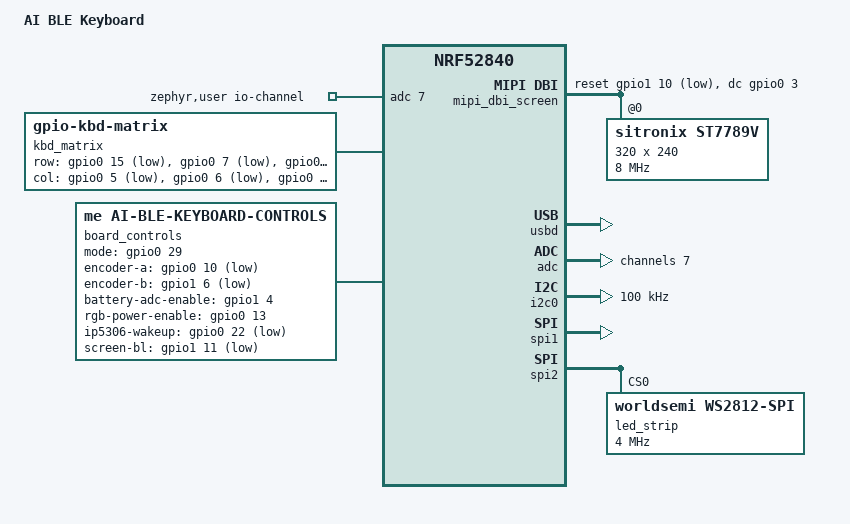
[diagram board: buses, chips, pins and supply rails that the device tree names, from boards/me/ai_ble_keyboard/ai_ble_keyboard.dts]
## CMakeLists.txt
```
# SPDX-License-Identifier: Apache-2.0

cmake_minimum_required(VERSION 3.20.0)
find_package(Zephyr REQUIRED HINTS $ENV{ZEPHYR_BASE})
project(ai_ble_keyboard)

zephyr_compile_definitions(CONFIG_NFCT_PINS_AS_GPIOS)

target_include_directories(app PRIVATE src)

target_sources(app PRIVATE
  src/display.c
  src/hid_transport.c
  src/host_ble.c
  src/host_protocol.c
  src/keymap.c
  src/key_wakeup_pm.c
  src/keyboard_matrix.c
  src/main.c
  src/power.c
  src/rgb.c
)
```

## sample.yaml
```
sample:
  name: AI BLE Keyboard
tests:
  sample.ai_ble_keyboard:
    build_only: true
    tags:
      - bluetooth
      - usb
      - hid
      - keyboard
    platform_allow:
      - ai_ble_keyboard/nrf52840
```

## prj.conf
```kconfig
# Core
CONFIG_MAIN_STACK_SIZE=8192
CONFIG_SYSTEM_WORKQUEUE_STACK_SIZE=8192
CONFIG_LOG=y
CONFIG_LOG_DEFAULT_LEVEL=3
CONFIG_LOG_PROCESS_THREAD_STACK_SIZE=4096
CONFIG_ASSERT=y

# GPIO / matrix / encoder
CONFIG_GPIO=y

# BLE HID over GATT
CONFIG_BT=y
CONFIG_BT_PERIPHERAL=y
CONFIG_BT_MAX_CONN=2
CONFIG_BT_MAX_PAIRED=2
CONFIG_BT_SMP=y
CONFIG_BT_DEVICE_NAME="AI_BLE_KEYBOARD"
CONFIG_BT_DEVICE_APPEARANCE=961
CONFIG_BT_GATT_AUTO_SEC_REQ=n
CONFIG_BT_GATT_SERVICE_CHANGED=y
CONFIG_BT_AUTO_PHY_UPDATE=n
CONFIG_BT_BAS=y
CONFIG_BT_HIDS=y
CONFIG_BT_HIDS_MAX_CLIENT_COUNT=2
CONFIG_BT_HIDS_DEFAULT_PERM_RW_ENCRYPT=y
CONFIG_BT_L2CAP_TX_MTU=247
CONFIG_BT_BUF_ACL_RX_SIZE=251
CONFIG_BT_BUF_ACL_TX_SIZE=251
CONFIG_BT_ATT_PREPARE_COUNT=2
CONFIG_BT_GATT_UUID16_POOL_SIZE=48
CONFIG_BT_GATT_UUID128_POOL_SIZE=4
CONFIG_BT_GATT_CHRC_POOL_SIZE=24
CONFIG_BT_CONN_CTX=y
CONFIG_BT_SETTINGS=y
CONFIG_BT_RX_STACK_SIZE=4096
CONFIG_FLASH=y
CONFIG_FLASH_PAGE_LAYOUT=y
CONFIG_FLASH_MAP=y
CONFIG_SETTINGS=y
CONFIG_NVS=y
CONFIG_SETTINGS_NVS=y

# USB HID keyboard. The legacy stack keeps this custom HID transport compact on NCS 3.2.3.
CONFIG_USB_DEVICE_STACK=y
CONFIG_USB_DEVICE_STACK_NEXT=n
CONFIG_USB_DEVICE_INITIALIZE_AT_BOOT=n
CONFIG_USB_DEVICE_HID=y
CONFIG_USB_DEVICE_PRODUCT="AI BLE Keyboard"
CONFIG_USB_DEVICE_PID=0xA107
CONFIG_USB_DEVICE_VID=0x1915
CONFIG_USB_DEVICE_REMOTE_WAKEUP=y
CONFIG_USB_HID_BOOT_PROTOCOL=y
CONFIG_USB_HID_LOG_LEVEL_OFF=y
CONFIG_USB_DEVICE_LOG_LEVEL_OFF=y
CONFIG_USB_DRIVER_LOG_LEVEL_OFF=y
CONFIG_DEPRECATION_TEST=y

# Power and battery monitor
CONFIG_ADC=y
CONFIG_I2C=y

# WS2812 RGB
CONFIG_SPI=y
CONFIG_LED_STRIP=y
CONFIG_WS2812_STRIP_SPI=y

# ST7789V status display
CONFIG_DISPLAY=y
CONFIG_ST7789V=y
CONFIG_ST7789V_RGB565=y
CONFIG_HEAP_MEM_POOL_SIZE=16384
CONFIG_LVGL=y
CONFIG_LV_COLOR_DEPTH_16=y
CONFIG_LV_Z_MEM_POOL_SIZE=16384
CONFIG_LV_Z_VDB_SIZE=24
CONFIG_LV_USE_LABEL=y
CONFIG_LV_USE_LINE=y
CONFIG_LV_FONT_MONTSERRAT_8=y
CONFIG_LV_FONT_MONTSERRAT_14=y
CONFIG_LV_FONT_MONTSERRAT_18=y
CONFIG_LV_FONT_MONTSERRAT_24=y
CONFIG_LV_FONT_DEFAULT_MONTSERRAT_8=y

# Console useful during board bring-up.
CONFIG_RTT_CONSOLE=y
CONFIG_USE_SEGGER_RTT=y
CONFIG_PRINTK=y
CONFIG_HWINFO=y
```

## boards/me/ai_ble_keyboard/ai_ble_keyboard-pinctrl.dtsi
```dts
/*
 * SPDX-License-Identifier: Apache-2.0
 */

&pinctrl {
	i2c0_default: i2c0_default {
		group1 {
			psels = <NRF_PSEL(TWIM_SDA, 1, 0)>,
				<NRF_PSEL(TWIM_SCL, 0, 24)>;
		};
	};

	i2c0_sleep: i2c0_sleep {
		group1 {
			psels = <NRF_PSEL(TWIM_SDA, 1, 0)>,
				<NRF_PSEL(TWIM_SCL, 0, 24)>;
			low-power-enable;
		};
	};

	spi1_default: spi1_default {
		group1 {
			psels = <NRF_PSEL(SPIM_SCK, 1, 13)>,
				<NRF_PSEL(SPIM_MOSI, 0, 28)>;
		};
	};

	spi1_sleep: spi1_sleep {
		group1 {
			psels = <NRF_PSEL(SPIM_SCK, 1, 13)>,
				<NRF_PSEL(SPIM_MOSI, 0, 28)>;
			low-power-enable;
		};
	};

	spi2_default: spi2_default {
		group1 {
			psels = <NRF_PSEL(SPIM_SCK, 1, 2)>,
				<NRF_PSEL(SPIM_MOSI, 0, 20)>;
		};
	};

	spi2_sleep: spi2_sleep {
		group1 {
			psels = <NRF_PSEL(SPIM_SCK, 1, 2)>,
				<NRF_PSEL(SPIM_MOSI, 0, 20)>;
			low-power-enable;
		};
	};
};
```

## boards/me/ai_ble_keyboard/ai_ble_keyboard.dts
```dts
/dts-v1/;

#include <nordic/nrf52840_qiaa.dtsi>
#include <zephyr/dt-bindings/adc/nrf-saadc.h>
#include <zephyr/dt-bindings/gpio/gpio.h>
#include <zephyr/dt-bindings/led/led.h>
#include <zephyr/dt-bindings/mipi_dbi/mipi_dbi.h>
#include "ai_ble_keyboard-pinctrl.dtsi"

/ {
	model = "AI BLE Keyboard";
	compatible = "me,ai-ble-keyboard";

	chosen {
		zephyr,sram = &sram0;
		zephyr,flash = &flash0;
		zephyr,code-partition = &slot0_partition;
		zephyr,display = &st7789v;
	};

	aliases {
		led-strip = &led_strip;
	};

	zephyr,user {
		io-channels = <&adc 7>;
	};

	kbd_matrix: keyboard-matrix {
		compatible = "gpio-kbd-matrix";
		row-gpios = <&gpio0 15 GPIO_ACTIVE_LOW>,
			    <&gpio0 7 GPIO_ACTIVE_LOW>,
			    <&gpio0 12 GPIO_ACTIVE_LOW>,
			    <&gpio0 4 GPIO_ACTIVE_LOW>,
			    <&gpio1 9 GPIO_ACTIVE_LOW>,
			    <&gpio0 8 GPIO_ACTIVE_LOW>;
		col-gpios = <&gpio0 5 (GPIO_PULL_UP | GPIO_ACTIVE_LOW)>,
			    <&gpio0 6 (GPIO_PULL_UP | GPIO_ACTIVE_LOW)>,
			    <&gpio0 26 (GPIO_PULL_UP | GPIO_ACTIVE_LOW)>,
			    <&gpio0 30 (GPIO_PULL_UP | GPIO_ACTIVE_LOW)>;
	};

	board_controls: board-controls {
		compatible = "me,ai-ble-keyboard-controls";
		mode-gpios = <&gpio0 29 (GPIO_PULL_UP | GPIO_ACTIVE_HIGH)>;
		encoder-a-gpios = <&gpio0 10 (GPIO_PULL_UP | GPIO_ACTIVE_LOW)>;
		encoder-b-gpios = <&gpio1 6 (GPIO_PULL_UP | GPIO_ACTIVE_LOW)>;
		battery-adc-enable-gpios = <&gpio1 4 GPIO_ACTIVE_HIGH>;
		rgb-power-enable-gpios = <&gpio0 13 GPIO_ACTIVE_HIGH>;
		ip5306-wakeup-gpios = <&gpio0 22 (GPIO_ACTIVE_LOW | GPIO_OPEN_DRAIN)>;
		screen-bl-gpios = <&gpio1 11 GPIO_ACTIVE_LOW>;
	};
};

&flash0 {
	partitions {
		compatible = "fixed-partitions";
		#address-cells = <1>;
		#size-cells = <1>;

		boot_partition: partition@0 {
			label = "mcuboot";
			reg = <0x00000000 DT_SIZE_K(48)>;
		};

		slot0_partition: partition@c000 {
			label = "image-0";
			reg = <0x0000c000 DT_SIZE_K(472)>;
		};

		slot1_partition: partition@82000 {
			label = "image-1";
			reg = <0x00082000 DT_SIZE_K(472)>;
		};

		storage_partition: partition@f8000 {
			label = "storage";
			reg = <0x000f8000 DT_SIZE_K(32)>;
		};
	};
};

&gpio0 {
	status = "okay";
};

&gpio1 {
	status = "okay";
};

&gpiote {
	status = "okay";
};

&uicr {
	nfct-pins-as-gpios;
};

&usbd {
	status = "okay";
};

&adc {
	status = "okay";
	#address-cells = <1>;
	#size-cells = <0>;

	channel@7 {
		reg = <7>;
		zephyr,gain = "ADC_GAIN_1_6";
		zephyr,reference = "ADC_REF_INTERNAL";
		zephyr,acquisition-time = <ADC_ACQ_TIME_DEFAULT>;
		zephyr,input-positive = <NRF_SAADC_AIN7>;
		zephyr,resolution = <12>;
	};
};

&i2c0 {
	compatible = "nordic,nrf-twim";
	status = "okay";
	pinctrl-0 = <&i2c0_default>;
	pinctrl-1 = <&i2c0_sleep>;
	pinctrl-names = "default", "sleep";
	clock-frequency = <I2C_BITRATE_STANDARD>;
};

&spi1 {
	compatible = "nordic,nrf-spim";
	status = "okay";
	pinctrl-0 = <&spi1_default>;
	pinctrl-1 = <&spi1_sleep>;
	pinctrl-names = "default", "sleep";
	cs-gpios = <&gpio0 2 GPIO_ACTIVE_LOW>;
};

/ {
	mipi_dbi_screen {
		compatible = "zephyr,mipi-dbi-spi";
		spi-dev = <&spi1>;
		dc-gpios = <&gpio0 3 GPIO_ACTIVE_HIGH>;
		reset-gpios = <&gpio1 10 GPIO_ACTIVE_LOW>;
		write-only;
		#address-cells = <1>;
		#size-cells = <0>;
		status = "okay";

		st7789v: st7789v@0 {
			compatible = "sitronix,st7789v";
			reg = <0>;
			mipi-max-frequency = <8000000>;
			width = <320>;
			height = <240>;
			x-offset = <0>;
			y-offset = <0>;
			vcom = <0x2b>;
			gctrl = <0x35>;
			vrhs = <0x0f>;
			vdvs = <0x20>;
			mdac = <0xa0>;
			gamma = <0x01>;
			colmod = <0x05>;
			lcm = <0x2c>;
			porch-param = [0c 0c 00 33 33];
			cmd2en-param = [5a 69 02 01];
			pwctrl1-param = [52 a1];
			pvgam-param = [d0 00 02 07 0b 1a 31 54 40 29 12 12 12 17];
			nvgam-param = [d0 00 02 07 05 15 2d 44 44 1c 18 16 1c 1d];
			ram-param = [00 f8];
			rgb-param = [cd 08 14];
			mipi-mode = "MIPI_DBI_MODE_SPI_4WIRE";
			status = "okay";
		};
	};
};

&spi2 {
	compatible = "nordic,nrf-spim";
	status = "okay";
	pinctrl-0 = <&spi2_default>;
	pinctrl-1 = <&spi2_sleep>;
	pinctrl-names = "default", "sleep";

	led_strip: ws2812@0 {
		compatible = "worldsemi,ws2812-spi";
		reg = <0>;
		spi-max-frequency = <4000000>;
		chain-length = <24>;
		color-mapping = <LED_COLOR_ID_GREEN LED_COLOR_ID_RED LED_COLOR_ID_BLUE>;
		spi-one-frame = <0x70>;
		spi-zero-frame = <0x40>;
	};
};
```

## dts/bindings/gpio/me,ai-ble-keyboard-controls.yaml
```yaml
# SPDX-License-Identifier: Apache-2.0

description: GPIO controls for the AI BLE Keyboard board.

compatible: "me,ai-ble-keyboard-controls"

include: base.yaml

properties:
  mode-gpios:
    type: phandle-array
    required: true
  encoder-a-gpios:
    type: phandle-array
    required: true
  encoder-b-gpios:
    type: phandle-array
    required: true
  battery-adc-enable-gpios:
    type: phandle-array
    required: true
  rgb-power-enable-gpios:
    type: phandle-array
    required: true
  ip5306-wakeup-gpios:
    type: phandle-array
    required: true
  screen-bl-gpios:
    type: phandle-array
    required: true
```

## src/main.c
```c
#include <errno.h>
#include <string.h>

#include <zephyr/devicetree.h>
#include <zephyr/bluetooth/services/bas.h>
#include <zephyr/drivers/gpio.h>
#include <zephyr/kernel.h>
#include <zephyr/logging/log.h>
#include <zephyr/sys/atomic.h>
#include <zephyr/sys/util.h>

#include "app_types.h"
#include "display.h"
#include "hid_transport.h"
#include "host_protocol.h"
#include "keyboard_matrix.h"
#include "keymap.h"
#include "key_wakeup_pm.h"
#include "power.h"
#include "rgb.h"

LOG_MODULE_REGISTER(app, LOG_LEVEL_INF);

#define CTRL_NODE DT_NODELABEL(board_controls)
#define MODE_DEBOUNCE_MS 40
#define STATUS_INTERVAL_MS 1000
#define STATUS_IDLE_INTERVAL_MS 10000

static const struct gpio_dt_spec mode_gpio =
	GPIO_DT_SPEC_GET(CTRL_NODE, mode_gpios);

struct encoder_line
{
	const char *name;
	struct gpio_dt_spec gpio;
	struct gpio_callback cb;
};

struct encoder_pair
{
	const char *name;
	uint8_t a;
	uint8_t b;
	int last_state;
	int8_t accumulator;
};

static struct hid_keyboard_report keyboard_report;
static uint8_t pressed_usage[KEYBOARD_MATRIX_ROWS][KEYBOARD_MATRIX_COLS];
static atomic_t encoder_pending_steps;
static struct k_work encoder_work;
static int active_encoder_pair = -1;
static bool status_refresh_requested;

static struct encoder_line encoder_lines[] = {
	{
		.name = "P0.10",
		.gpio = {
			.port = DEVICE_DT_GET(DT_NODELABEL(gpio0)),
			.pin = 10,
			.dt_flags = GPIO_PULL_UP | GPIO_ACTIVE_LOW,
		},
	},
	{
		.name = "P1.06",
		.gpio = {
			.port = DEVICE_DT_GET(DT_NODELABEL(gpio1)),
			.pin = 6,
			.dt_flags = GPIO_PULL_UP | GPIO_ACTIVE_LOW,
		},
	},
	{
		.name = "P0.09",
		.gpio = {
			.port = DEVICE_DT_GET(DT_NODELABEL(gpio0)),
			.pin = 9,
			.dt_flags = GPIO_PULL_UP | GPIO_ACTIVE_LOW,
		},
	},
};

static struct encoder_pair encoder_pairs[] = {
	{.name = "P0.10/P1.06", .a = 0, .b = 1, .last_state = -1},
	{.name = "P0.09/P1.06", .a = 2, .b = 1, .last_state = -1},
	{.name = "P0.09/P0.10", .a = 2, .b = 0, .last_state = -1},
};

static enum app_mode read_mode_switch(void)
{
	int val;

	if (!gpio_is_ready_dt(&mode_gpio))
	{
		return APP_MODE_BLE;
	}

	val = gpio_pin_get_dt(&mode_gpio);
	return val > 0 ? APP_MODE_BLE : APP_MODE_USB;
}

static enum app_mode read_mode_switch_debounced(void)
{
	static bool initialized;
	static enum app_mode stable_mode;
	static enum app_mode candidate_mode;
	static int64_t candidate_since;
	enum app_mode raw_mode = read_mode_switch();
	int64_t now = k_uptime_get();

	if (!initialized)
	{
		stable_mode = raw_mode;
		candidate_mode = raw_mode;
		candidate_since = now;
		initialized = true;
		return stable_mode;
	}

	if (raw_mode != candidate_mode)
	{
		candidate_mode = raw_mode;
		candidate_since = now;
		return stable_mode;
	}

	if (candidate_mode != stable_mode &&
		(now - candidate_since) >= MODE_DEBOUNCE_MS)
	{
		stable_mode = candidate_mode;
	}

	return stable_mode;
}

static void clear_keyboard_state(void)
{
	memset(&keyboard_report, 0, sizeof(keyboard_report));
	memset(pressed_usage, 0, sizeof(pressed_usage));
}

static void clear_keyboard_report(void)
{
	clear_keyboard_state();
	(void)hid_transport_release_all();
}

static void add_usage(uint8_t usage)
{
	if (usage == 0)
	{
		return;
	}

	for (size_t i = 0; i < ARRAY_SIZE(keyboard_report.keys); i++)
	{
		if (keyboard_report.keys[i] == usage)
		{
			return;
		}
	}

	for (size_t i = 0; i < ARRAY_SIZE(keyboard_report.keys); i++)
	{
		if (keyboard_report.keys[i] == 0)
		{
			keyboard_report.keys[i] = usage;
			return;
		}
	}

	LOG_WRN("Keyboard rollover limit reached, dropping usage 0x%02x", usage);
}

static void remove_usage(uint8_t usage)
{
	if (usage == 0)
	{
		return;
	}

	for (size_t i = 0; i < ARRAY_SIZE(keyboard_report.keys); i++)
	{
		if (keyboard_report.keys[i] == usage)
		{
			keyboard_report.keys[i] = 0;
		}
	}
}

static bool keyboard_report_has_keys(void)
{
	for (size_t i = 0; i < ARRAY_SIZE(keyboard_report.keys); i++)
	{
		if (keyboard_report.keys[i] != 0)
		{
			return true;
		}
	}

	return false;
}

static void process_key_event(const struct keyboard_event *event)
{
	uint8_t usage;
	bool layer_changed = false;

	if (event->row >= KEYBOARD_MATRIX_ROWS || event->col >= KEYBOARD_MATRIX_COLS)
	{
		return;
	}

	if (event->row == 0 && event->col == 3)
	{
		if (event->pressed)
		{
			LOG_DBG("encoder switch mute");
			(void)hid_transport_send_consumer(HID_CONSUMER_MUTE);
		}
		return;
	}

	if (event->pressed)
	{
		bool before_numlock = keymap_numlock_enabled();

		usage = keymap_usage_for_event(event);
		pressed_usage[event->row][event->col] = usage;
		add_usage(usage);
		keymap_note_event(event);
		layer_changed = before_numlock != keymap_numlock_enabled();
	}
	else
	{
		usage = pressed_usage[event->row][event->col];
		pressed_usage[event->row][event->col] = 0;
		remove_usage(usage);
	}

	LOG_DBG("key r%u c%u %s usage 0x%02x layer %s",
			event->row, event->col, event->pressed ? "down" : "up",
			usage, keymap_layer_name());
	(void)hid_transport_send_keyboard(&keyboard_report);

	if (layer_changed) {
		rgb_show_status(hid_transport_get_mode(), hid_transport_connected(),
				keymap_numlock_enabled(), key_wakeup_pm_is_idle());
		status_refresh_requested = true;
	}
}

static void encoder_work_handler(struct k_work *work)
{
	int steps;

	ARG_UNUSED(work);

	key_wakeup_pm_note_activity(k_uptime_get());

	steps = atomic_set(&encoder_pending_steps, 0);
	while (steps > 0)
	{
		(void)hid_transport_send_consumer(HID_CONSUMER_VOLUME_UP);
		steps--;
	}
	while (steps < 0)
	{
		(void)hid_transport_send_consumer(HID_CONSUMER_VOLUME_DOWN);
		steps++;
	}
}

static int encoder_line_state(uint8_t index)
{
	int value = gpio_pin_get_dt(&encoder_lines[index].gpio);

	return value > 0 ? 1 : 0;
}

static void encoder_sample_pair(struct encoder_pair *pair, size_t pair_index)
{
	static const int8_t delta_table[16] = {
		0,
		-1,
		1,
		0,
		1,
		0,
		0,
		-1,
		-1,
		0,
		0,
		1,
		0,
		1,
		-1,
		0,
	};
	int state;
	int idx;
	int8_t delta;

	if (active_encoder_pair >= 0 && active_encoder_pair != (int)pair_index)
	{
		return;
	}

	if (pair->last_state < 0)
	{
		return;
	}

	state = (encoder_line_state(pair->a) << 1) | encoder_line_state(pair->b);
	if (state == pair->last_state)
	{
		return;
	}

	idx = (pair->last_state << 2) | state;
	pair->last_state = state;
	delta = delta_table[idx & 0x0f];
	if (delta == 0)
	{
		return;
	}

	pair->accumulator += delta;
	if (pair->accumulator >= 2)
	{
		pair->accumulator = 0;
		if (active_encoder_pair < 0)
		{
			active_encoder_pair = (int)pair_index;
			LOG_INF("Encoder pair locked to %s", pair->name);
		}
		atomic_inc(&encoder_pending_steps);
		(void)k_work_submit(&encoder_work);
	}
	else if (pair->accumulator <= -2)
	{
		pair->accumulator = 0;
		if (active_encoder_pair < 0)
		{
			active_encoder_pair = (int)pair_index;
			LOG_INF("Encoder pair locked to %s", pair->name);
		}
		atomic_dec(&encoder_pending_steps);
		(void)k_work_submit(&encoder_work);
	}
}

static void encoder_sample(void)
{
	for (size_t i = 0; i < ARRAY_SIZE(encoder_pairs); i++)
	{
		encoder_sample_pair(&encoder_pairs[i], i);
	}
}

static void encoder_gpio_cb(const struct device *dev, struct gpio_callback *cb,
							uint32_t pins)
{
	ARG_UNUSED(dev);
	ARG_UNUSED(cb);
	ARG_UNUSED(pins);

	encoder_sample();
}

static int encoder_init(void)
{
	int err;

	k_work_init(&encoder_work, encoder_work_handler);

	for (size_t i = 0; i < ARRAY_SIZE(encoder_lines); i++)
	{
		struct encoder_line *line = &encoder_lines[i];

		if (!gpio_is_ready_dt(&line->gpio))
		{
			LOG_WRN("Encoder GPIO %s is not ready", line->name);
			return -ENODEV;
		}

		err = gpio_pin_configure_dt(&line->gpio, GPIO_INPUT);
		if (err)
		{
			return err;
		}

		gpio_init_callback(&line->cb, encoder_gpio_cb, BIT(line->gpio.pin));
		err = gpio_add_callback(line->gpio.port, &line->cb);
		if (err)
		{
			return err;
		}

		err = gpio_pin_interrupt_configure_dt(&line->gpio, GPIO_INT_EDGE_BOTH);
		if (err)
		{
			return err;
		}
	}

	for (size_t i = 0; i < ARRAY_SIZE(encoder_pairs); i++)
	{
		struct encoder_pair *pair = &encoder_pairs[i];

		pair->last_state = (encoder_line_state(pair->a) << 1) |
						   encoder_line_state(pair->b);
		LOG_DBG("Encoder candidate %s initial state %d",
				pair->name, pair->last_state);
	}

	return 0;
}

int main(void)
{
	struct keyboard_event events[8];
	int64_t next_status = 0;
	enum app_mode mode = APP_MODE_BLE;
	bool last_idle = false;
	bool last_connected = false;

	LOG_INF("AI BLE Keyboard starting");

	(void)power_init();
	power_ip5306_keepalive_kick();
	(void)app_display_init();
	(void)rgb_init();
	keymap_init();

	if (gpio_is_ready_dt(&mode_gpio))
	{
		(void)gpio_pin_configure_dt(&mode_gpio, GPIO_INPUT);
	}

	if (keyboard_matrix_init() != 0)
	{
		LOG_ERR("Keyboard matrix init failed");
	}

	(void)encoder_init();

	mode = read_mode_switch_debounced();
	key_wakeup_pm_init(k_uptime_get());

	if (hid_transport_init(mode) != 0)
	{
		LOG_ERR("HID transport init failed");
	}

	hid_transport_set_mode(mode);
	last_connected = hid_transport_connected();

	while (true)
	{
		enum app_mode new_mode = read_mode_switch_debounced();
		int event_count;
		int64_t now = k_uptime_get();
		bool idle_now;
		bool connected_now;

		if (new_mode != mode)
		{
			clear_keyboard_state();
			mode = new_mode;
			hid_transport_set_mode(mode);
			clear_keyboard_report();
			key_wakeup_pm_note_activity_reason(now, "Mode switch activity");
			app_display_set_idle(false);
			rgb_show_status(mode, hid_transport_connected(),
					keymap_numlock_enabled(), false);
			last_idle = false;
			next_status = 0;
			LOG_INF("Mode changed to %s", mode == APP_MODE_BLE ? "BLE" : "USB");
		}

		key_wakeup_pm_update(mode, now);
		idle_now = key_wakeup_pm_is_idle();
		app_display_set_idle(idle_now);
		power_set_idle(idle_now);
		if (idle_now != last_idle) {
			rgb_show_status(mode, hid_transport_connected(),
					keymap_numlock_enabled(),
					idle_now);
			last_idle = idle_now;
		}

		if (key_wakeup_pm_should_scan(mode))
		{
			event_count = keyboard_matrix_scan(events, ARRAY_SIZE(events));
			if (event_count > 0)
			{
				key_wakeup_pm_note_activity(now);
			}
			for (int i = 0; i < event_count; i++)
			{
				process_key_event(&events[i]);
			}
			if (status_refresh_requested) {
				next_status = 0;
				status_refresh_requested = false;
			}
			if (keyboard_report_has_keys())
			{
				key_wakeup_pm_note_activity(k_uptime_get());
			}
			encoder_sample();
		}
		hid_transport_tick();
		connected_now = hid_transport_connected();
		if (connected_now != last_connected) {
			LOG_INF("Transport connection changed: %d -> %d",
				last_connected, connected_now);
			key_wakeup_pm_note_activity_reason(now,
							   "Transport activity");
			idle_now = false;
			app_display_set_idle(false);
			power_set_idle(false);
			last_idle = false;
			power_ip5306_keepalive_kick();
			rgb_show_status(mode, connected_now,
					keymap_numlock_enabled(), false);
			rgb_recover_after_power_event();
			next_status = 0;
			last_connected = connected_now;
		}
		app_display_tick();
		rgb_tick();
		power_ip5306_keepalive_tick(mode != APP_MODE_OFF);

		if (now >= next_status)
		{
			int battery = power_get_battery_percent();
			int battery_mv = power_get_battery_mv();
			enum power_charge_state charge_state = power_get_charge_state();
			bool connected = hid_transport_connected();
			struct host_status_snapshot host_status;

			if (charge_state == POWER_CHARGE_CHARGING &&
			    battery >= 100 && battery_mv >= 4180) {
				charge_state = POWER_CHARGE_FULL;
			}

			rgb_set_low_battery(battery >= 0 && battery < 20);
			host_status.mode = mode;
			host_status.connected = connected;
			host_status.numlock = keymap_numlock_enabled();
			host_status.idle = idle_now;
			host_status.battery_percent = battery;
			host_status.battery_mv = battery_mv;
			host_status.charge_state = charge_state;
			host_protocol_update_status(&host_status);
			display_update_status(mode, battery, battery_mv, charge_state,
					      connected, keymap_numlock_enabled());
			rgb_show_status(mode, connected, keymap_numlock_enabled(),
					idle_now);
			if (hid_transport_ble_ready())
			{
				bt_bas_set_battery_level(battery >= 0 ? battery : 0);
			}
			next_status = now + (idle_now ? STATUS_IDLE_INTERVAL_MS :
					     STATUS_INTERVAL_MS);
		}

		k_sleep(key_wakeup_pm_sleep_interval(mode, now));
	}

	return 0;
}
```

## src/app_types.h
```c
#ifndef APP_TYPES_H
#define APP_TYPES_H

#include <stdbool.h>
#include <stdint.h>

enum app_mode {
	APP_MODE_BLE = 0,
	APP_MODE_USB,
	APP_MODE_OFF,
};

#define HID_KEYBOARD_REPORT_SIZE 8
#define HID_KEYBOARD_MAX_KEYS 6
#define HID_CONSUMER_MUTE 0x00e2
#define HID_CONSUMER_VOLUME_UP 0x00e9
#define HID_CONSUMER_VOLUME_DOWN 0x00ea

struct hid_keyboard_report {
	uint8_t modifiers;
	uint8_t reserved;
	uint8_t keys[HID_KEYBOARD_MAX_KEYS];
};

#endif
```

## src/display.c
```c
#include "display.h"

#include <errno.h>
#include <stdio.h>
#include <string.h>

#include <lvgl.h>
#include <zephyr/device.h>
#include <zephyr/drivers/display.h>
#include <zephyr/drivers/gpio.h>
#include <zephyr/kernel.h>
#include <zephyr/logging/log.h>
#include <zephyr/sys/util.h>

LOG_MODULE_REGISTER(app_display, LOG_LEVEL_INF);

#define CTRL_NODE DT_NODELABEL(board_controls)
#define SCREEN_W 320
#define SCREEN_H 240
#define VISIBLE_Y 34
#define DISPLAY_IDLE_TICK_MS 1000
#define COLOR_BG 0x0b0f14
#define COLOR_CARD 0x111827
#define COLOR_BORDER 0x1f2937
#define COLOR_TEXT 0xeaf2ff
#define COLOR_MUTED 0x7c8a99
#define COLOR_USB 0x22c55e
#define COLOR_BLE 0x38bdf8
#define COLOR_LAYER 0xf59e0b
#define COLOR_LOW_BATTERY 0xef4444

static const struct device *const display_dev = DEVICE_DT_GET(DT_CHOSEN(zephyr_display));
static const struct gpio_dt_spec screen_bl =
	GPIO_DT_SPEC_GET(CTRL_NODE, screen_bl_gpios);

static lv_obj_t *time_label;
static lv_obj_t *date_label;
static lv_obj_t *mode_label;
static lv_obj_t *battery_label;
static lv_obj_t *layer_label;
static lv_obj_t *layer_value_label;
static lv_obj_t *mode_status_label;
static lv_obj_t *mode_panel;
static lv_obj_t *layer_panel;
static lv_obj_t *ble_label;
static lv_obj_t *battery_state_label;
static lv_style_t style_screen;
static lv_style_t style_text;
static lv_style_t style_muted;
static lv_style_t style_time;
static lv_style_t style_card_title;
static lv_style_t style_card_value;
static lv_style_t style_card_value_small;
static lv_style_t style_panel;
static lv_style_t style_panel_accent;
static lv_style_t style_layer_accent;
static bool display_ready;
static bool display_idle;
static int64_t next_display_idle_tick_ms;
static int64_t build_epoch_seconds;
static int64_t host_epoch_seconds = -1;
static int64_t host_epoch_uptime_seconds;
static int last_display_mode = -1;
static int last_display_battery = -999;
static int last_display_battery_mv = -999;
static int last_display_charge_state = -1;
static int last_display_hour = -1;
static int last_display_minute = -1;
static int last_display_day = -1;
static bool last_display_connected;
static bool last_display_numlock;

static lv_color_t mode_status_color(enum app_mode mode, bool connected,
				    bool numlock)
{
	if (!numlock) {
		return lv_color_hex(COLOR_LAYER);
	}

	switch (mode) {
	case APP_MODE_USB:
		return lv_color_hex(connected ? COLOR_USB : COLOR_LOW_BATTERY);
	case APP_MODE_BLE:
		return lv_color_hex(COLOR_BLE);
	case APP_MODE_OFF:
	default:
		return lv_color_hex(COLOR_MUTED);
	}
}

static void screen_backlight_probe(void)
{
	if (!gpio_is_ready_dt(&screen_bl)) {
		LOG_WRN("Screen BL GPIO is not ready");
		return;
	}

	(void)gpio_pin_configure_dt(&screen_bl, GPIO_OUTPUT_ACTIVE);
	(void)gpio_pin_set_dt(&screen_bl, 1);
	display_idle = false;
}

static void screen_backlight_set(bool on)
{
	if (gpio_is_ready_dt(&screen_bl)) {
		(void)gpio_pin_set_dt(&screen_bl, on ? 1 : 0);
	}
}

static void screen_power_set(bool on)
{
	int err;

	if (!display_ready) {
		screen_backlight_set(on);
		return;
	}

	if (on) {
		err = display_blanking_off(display_dev);
		if (err) {
			LOG_DBG("Display blanking off failed: %d", err);
		}
		screen_backlight_set(true);
	} else {
		screen_backlight_set(false);
		err = display_blanking_on(display_dev);
		if (err) {
			LOG_DBG("Display blanking on failed: %d", err);
		}
	}
}

static const char *mode_name(enum app_mode mode)
{
	switch (mode) {
	case APP_MODE_BLE:
		return "BLE";
	case APP_MODE_USB:
		return "USB";
	case APP_MODE_OFF:
		return "OFF";
	default:
		return "?";
	}
}

static const char *battery_prefix(enum power_charge_state charge_state,
				  enum app_mode mode, bool connected)
{
	switch (charge_state) {
	case POWER_CHARGE_CHARGING:
	case POWER_CHARGE_FULL:
		return "USB";
	case POWER_CHARGE_DISCHARGING:
		return (mode == APP_MODE_USB && connected) ? "USB" : "BAT";
	case POWER_CHARGE_UNKNOWN:
	default:
		return "---";
	}
}

static const char *battery_state_name(enum power_charge_state charge_state)
{
	switch (charge_state) {
	case POWER_CHARGE_DISCHARGING:
		return "Discharging";
	case POWER_CHARGE_CHARGING:
		return "Charging";
	case POWER_CHARGE_FULL:
		return "Full";
	case POWER_CHARGE_UNKNOWN:
	default:
		return "Unknown";
	}
}

static int month_from_name(const char *name)
{
	static const char months[] = "JanFebMarAprMayJunJulAugSepOctNovDec";
	const char *pos = strstr(months, name);

	if (pos == NULL) {
		return 1;
	}

	return ((int)(pos - months) / 3) + 1;
}

static bool is_leap(int year)
{
	return ((year % 4) == 0 && (year % 100) != 0) || ((year % 400) == 0);
}

static int days_in_month(int year, int month)
{
	static const uint8_t days[] = {
		31, 28, 31, 30, 31, 30,
		31, 31, 30, 31, 30, 31,
	};

	if (month == 2 && is_leap(year)) {
		return 29;
	}

	return days[month - 1];
}

static int64_t date_to_epoch_seconds(int year, int month, int day,
				     int hour, int minute, int second)
{
	int64_t days = 0;

	for (int y = 1970; y < year; y++) {
		days += is_leap(y) ? 366 : 365;
	}

	for (int m = 1; m < month; m++) {
		days += days_in_month(year, m);
	}

	days += day - 1;
	return (((days * 24) + hour) * 60 + minute) * 60 + second;
}

static void epoch_to_date(int64_t seconds, int *year, int *month, int *day,
			  int *hour, int *minute, int *second)
{
	int64_t days = seconds / 86400;
	int rem = (int)(seconds % 86400);
	int y = 1970;
	int m = 1;

	while (true) {
		int year_days = is_leap(y) ? 366 : 365;

		if (days < year_days) {
			break;
		}
		days -= year_days;
		y++;
	}

	while (true) {
		int month_days = days_in_month(y, m);

		if (days < month_days) {
			break;
		}
		days -= month_days;
		m++;
	}

	*year = y;
	*month = m;
	*day = (int)days + 1;
	*hour = rem / 3600;
	*minute = (rem % 3600) / 60;
	*second = rem % 60;
}

static int64_t build_time_seconds(void)
{
	char month_name[4] = { 0 };
	int year;
	int day;
	int hour;
	int minute;
	int second;

	if (sscanf(__DATE__, "%3s %d %d", month_name, &day, &year) != 3 ||
	    sscanf(__TIME__, "%d:%d:%d", &hour, &minute, &second) != 3) {
		return date_to_epoch_seconds(2026, 1, 1, 0, 0, 0);
	}

	return date_to_epoch_seconds(year, month_from_name(month_name), day,
				     hour, minute, second);
}

static void init_styles(void)
{
	lv_style_init(&style_screen);
	lv_style_set_bg_color(&style_screen, lv_color_hex(COLOR_BG));
	lv_style_set_bg_opa(&style_screen, LV_OPA_COVER);
	lv_style_set_pad_all(&style_screen, 0);

	lv_style_init(&style_text);
	lv_style_set_text_color(&style_text, lv_color_hex(COLOR_TEXT));
	lv_style_set_bg_opa(&style_text, LV_OPA_TRANSP);
	lv_style_set_pad_all(&style_text, 0);
	lv_style_set_text_font(&style_text, &lv_font_montserrat_18);

	lv_style_init(&style_muted);
	lv_style_set_text_color(&style_muted, lv_color_hex(COLOR_MUTED));
	lv_style_set_bg_opa(&style_muted, LV_OPA_TRANSP);
	lv_style_set_pad_all(&style_muted, 0);
	lv_style_set_text_font(&style_muted, &lv_font_montserrat_14);

	lv_style_init(&style_time);
	lv_style_set_text_color(&style_time, lv_color_hex(COLOR_TEXT));
	lv_style_set_bg_opa(&style_time, LV_OPA_TRANSP);
	lv_style_set_pad_all(&style_time, 0);
	lv_style_set_text_font(&style_time, &lv_font_montserrat_18);

	lv_style_init(&style_card_title);
	lv_style_set_text_color(&style_card_title, lv_color_hex(COLOR_MUTED));
	lv_style_set_bg_opa(&style_card_title, LV_OPA_TRANSP);
	lv_style_set_pad_all(&style_card_title, 0);
	lv_style_set_text_font(&style_card_title, &lv_font_montserrat_18);

	lv_style_init(&style_card_value);
	lv_style_set_text_color(&style_card_value, lv_color_hex(COLOR_TEXT));
	lv_style_set_bg_opa(&style_card_value, LV_OPA_TRANSP);
	lv_style_set_pad_all(&style_card_value, 0);
	lv_style_set_text_font(&style_card_value, &lv_font_montserrat_24);

	lv_style_init(&style_card_value_small);
	lv_style_set_text_color(&style_card_value_small, lv_color_hex(COLOR_TEXT));
	lv_style_set_bg_opa(&style_card_value_small, LV_OPA_TRANSP);
	lv_style_set_pad_all(&style_card_value_small, 0);
	lv_style_set_text_font(&style_card_value_small, &lv_font_montserrat_24);

	lv_style_init(&style_panel);
	lv_style_set_bg_color(&style_panel, lv_color_hex(COLOR_CARD));
	lv_style_set_bg_opa(&style_panel, LV_OPA_COVER);
	lv_style_set_border_color(&style_panel, lv_color_hex(COLOR_BORDER));
	lv_style_set_border_width(&style_panel, 1);
	lv_style_set_radius(&style_panel, 6);
	lv_style_set_pad_all(&style_panel, 0);

	lv_style_init(&style_panel_accent);
	lv_style_set_border_color(&style_panel_accent, lv_color_hex(COLOR_USB));
	lv_style_set_border_width(&style_panel_accent, 2);

	lv_style_init(&style_layer_accent);
	lv_style_set_border_color(&style_layer_accent, lv_color_hex(COLOR_LAYER));
	lv_style_set_border_width(&style_layer_accent, 2);
}

static lv_obj_t *make_label(lv_obj_t *parent, int x, int y, int w,
			    lv_style_t *style)
{
	lv_obj_t *label = lv_label_create(parent);

	lv_obj_add_style(label, style, 0);
	lv_obj_set_pos(label, x, y);
	lv_obj_set_width(label, w);
	lv_label_set_long_mode(label, LV_LABEL_LONG_CLIP);
	return label;
}

static lv_obj_t *make_panel(lv_obj_t *parent, int x, int y, int w, int h)
{
	lv_obj_t *panel = lv_obj_create(parent);

	lv_obj_remove_style_all(panel);
	lv_obj_add_style(panel, &style_panel, 0);
	lv_obj_set_pos(panel, x, y);
	lv_obj_set_size(panel, w, h);
	return panel;
}

int app_display_init(void)
{
	lv_obj_t *screen;
	int err;

	screen_backlight_probe();

	if (!device_is_ready(display_dev)) {
		LOG_WRN("Display is not ready");
		return -ENODEV;
	}

	err = display_set_pixel_format(display_dev, PIXEL_FORMAT_RGB_565);
	if (err) {
		LOG_WRN("Set RGB565 pixel format failed: %d", err);
	}

	err = display_blanking_off(display_dev);
	if (err) {
		LOG_WRN("Display blanking off failed: %d", err);
	}

	init_styles();
	screen = lv_screen_active();
	lv_obj_remove_style_all(screen);
	lv_obj_add_style(screen, &style_screen, 0);
	lv_obj_set_size(screen, SCREEN_W, SCREEN_H);

	time_label = make_label(screen, 16, VISIBLE_Y + 1, 70, &style_time);
	date_label = make_label(screen, 16, VISIBLE_Y + 30, 122, &style_text);
	lv_obj_set_style_text_color(date_label, lv_color_hex(COLOR_TEXT), 0);
	battery_label = make_label(screen, 194, VISIBLE_Y + 4, 104, &style_time);
	lv_obj_set_style_text_align(battery_label, LV_TEXT_ALIGN_RIGHT, 0);
	battery_state_label = make_label(screen, 164, VISIBLE_Y + 32, 134,
					 &style_text);
	lv_obj_set_style_text_align(battery_state_label, LV_TEXT_ALIGN_RIGHT, 0);

	mode_panel = make_panel(screen, 16, VISIBLE_Y + 82, 176, 78);
	lv_obj_add_style(mode_panel, &style_panel_accent, 0);
	mode_label = make_label(mode_panel, 12, 10, 152, &style_card_title);
	mode_status_label = make_label(mode_panel, 12, 39, 152,
				       &style_card_value_small);

	layer_panel = make_panel(screen, 204, VISIBLE_Y + 82, 100, 78);
	lv_obj_add_style(layer_panel, &style_layer_accent, 0);
	layer_label = make_label(layer_panel, 12, 10, 76, &style_card_title);
	lv_label_set_text(layer_label, "LAYER");
	layer_value_label = make_label(layer_panel, 12, 37, 76,
				       &style_card_value);

	ble_label = make_label(screen, 16, VISIBLE_Y + 63, 180, &style_text);
	lv_obj_add_flag(ble_label, LV_OBJ_FLAG_HIDDEN);

	build_epoch_seconds = build_time_seconds();
	lv_timer_handler();
	display_ready = true;
	display_update_status(APP_MODE_BLE, -1, -1, POWER_CHARGE_UNKNOWN,
			      false, true);
	return 0;
}

void display_update_status(enum app_mode mode, int battery_percent,
			   int battery_mv, enum power_charge_state charge_state,
			   bool connected, bool numlock)
{
	int year;
	int month;
	int day;
	int hour;
	int minute;
	int second;
	int64_t now;
	bool time_changed;
	bool mode_changed;
	bool battery_changed;
	bool numlock_changed;

	if (!display_ready) {
		return;
	}

	if (battery_percent > 100) {
		battery_percent = 100;
	} else if (battery_percent < 0) {
		battery_percent = -1;
	}
	if (battery_mv < 0) {
		battery_mv = -1;
	}

	if (host_epoch_seconds >= 0) {
		now = host_epoch_seconds +
		      ((k_uptime_get() / 1000) - host_epoch_uptime_seconds);
	} else {
		now = build_epoch_seconds + (k_uptime_get() / 1000);
	}
	epoch_to_date(now, &year, &month, &day, &hour, &minute, &second);
	time_changed = hour != last_display_hour ||
		       minute != last_display_minute ||
		       day != last_display_day;
	mode_changed = mode != last_display_mode ||
		       connected != last_display_connected;
	battery_changed = battery_percent != last_display_battery ||
			  battery_mv != last_display_battery_mv ||
			  charge_state != last_display_charge_state;
	numlock_changed = numlock != last_display_numlock;

	if (!time_changed && !mode_changed && !battery_changed &&
	    !numlock_changed) {
		return;
	}

	if (time_changed) {
		lv_label_set_text_fmt(time_label, "%02d:%02d", hour, minute);
		lv_label_set_text_fmt(date_label, "%04d-%02d-%02d",
				      year, month, day);
		lv_obj_set_style_text_color(time_label, lv_color_hex(COLOR_TEXT), 0);
		lv_obj_set_style_text_color(date_label, lv_color_hex(COLOR_TEXT), 0);
		last_display_hour = hour;
		last_display_minute = minute;
		last_display_day = day;
	}

	if (mode_changed) {
		lv_color_t color = mode_status_color(mode, connected, numlock);

		lv_label_set_text_fmt(mode_label, "%s MODE", mode_name(mode));
		if (mode == APP_MODE_BLE) {
			lv_label_set_text(mode_status_label,
					  connected ? "CONNECTED" : "SEARCHING");
			lv_label_set_text(ble_label, "");
		} else if (mode == APP_MODE_USB) {
			lv_label_set_text(mode_status_label,
					  connected ? "CONNECTED" : "WAITING");
			lv_label_set_text(ble_label, "");
		} else {
			lv_label_set_text(mode_status_label, "SLEEP");
			lv_label_set_text(ble_label, "");
		}
		lv_obj_set_style_border_color(mode_panel, color, 0);
		lv_obj_set_style_text_color(mode_label, color, 0);
		lv_obj_set_style_text_color(mode_status_label, color, 0);
		lv_label_set_text(layer_value_label, numlock ? "NUM" : "NAV");
		lv_obj_set_style_border_color(layer_panel, color, 0);
		lv_obj_set_style_text_color(layer_label, color, 0);
		lv_obj_set_style_text_color(layer_value_label, color, 0);
		lv_obj_set_style_text_color(ble_label,
					    mode == APP_MODE_BLE ?
					    lv_color_hex(COLOR_BLE) :
					    lv_color_hex(COLOR_MUTED), 0);
		last_display_mode = mode;
		last_display_connected = connected;
	}

	if (battery_changed || mode_changed) {
		if (battery_percent >= 0) {
			lv_label_set_text_fmt(battery_label, "%s %d%%",
					      battery_prefix(charge_state, mode,
							     connected),
					      battery_percent);
		} else {
			lv_label_set_text_fmt(battery_label, "%s ---",
					      battery_prefix(charge_state, mode,
							     connected));
		}
		lv_label_set_text(battery_state_label,
				  battery_state_name(charge_state));
		lv_obj_set_style_text_color(battery_label,
					    lv_color_hex(COLOR_TEXT), 0);
		lv_obj_set_style_text_color(battery_state_label,
					    lv_color_hex(COLOR_TEXT), 0);
		last_display_battery = battery_percent;
		last_display_battery_mv = battery_mv;
		last_display_charge_state = charge_state;
	}

	if (numlock_changed) {
		lv_color_t color = mode_status_color(mode, connected, numlock);

		lv_label_set_text(layer_value_label, numlock ? "NUM" : "NAV");
		lv_obj_set_style_border_color(mode_panel, color, 0);
		lv_obj_set_style_text_color(mode_label, color, 0);
		lv_obj_set_style_text_color(mode_status_label, color, 0);
		lv_obj_set_style_border_color(layer_panel, color, 0);
		lv_obj_set_style_text_color(layer_label, color, 0);
		lv_obj_set_style_text_color(layer_value_label, color, 0);
		last_display_numlock = numlock;
	}
	lv_timer_handler();
}

void display_set_host_time(uint32_t unix_time, int16_t timezone_offset_min,
			   uint8_t flags)
{
	ARG_UNUSED(flags);

	host_epoch_seconds = (int64_t)unix_time +
			     ((int64_t)timezone_offset_min * 60);
	host_epoch_uptime_seconds = k_uptime_get() / 1000;
	last_display_hour = -1;
	last_display_minute = -1;
	last_display_day = -1;
}

void app_display_tick(void)
{
	int64_t now;

	if (!display_ready) {
		return;
	}

	if (!display_idle) {
		lv_timer_handler();
		return;
	}

	now = k_uptime_get();
	if (now < next_display_idle_tick_ms) {
		return;
	}

	next_display_idle_tick_ms = now + DISPLAY_IDLE_TICK_MS;
	lv_timer_handler();
}

void app_display_set_idle(bool idle)
{
	if (display_idle == idle) {
		return;
	}

	display_idle = idle;
	LOG_INF("Display %s", idle ? "idle" : "resume");
	screen_power_set(!idle);
	if (display_ready) {
		next_display_idle_tick_ms = 0;
		lv_timer_handler();
	}
}
```

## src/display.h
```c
#ifndef DISPLAY_H
#define DISPLAY_H

#include <stdbool.h>
#include <stdint.h>

#include "app_types.h"
#include "power.h"

int app_display_init(void);
void display_update_status(enum app_mode mode, int battery_percent,
			   int battery_mv, enum power_charge_state charge_state,
			   bool connected, bool numlock);
void display_set_host_time(uint32_t unix_time, int16_t timezone_offset_min,
			   uint8_t flags);
void app_display_tick(void);
void app_display_set_idle(bool idle);

#endif
```

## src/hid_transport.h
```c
#ifndef HID_TRANSPORT_H
#define HID_TRANSPORT_H

#include <stdbool.h>
#include <stdint.h>

#include "app_types.h"

int hid_transport_init(enum app_mode initial_mode);
void hid_transport_set_mode(enum app_mode mode);
void hid_transport_tick(void);
enum app_mode hid_transport_get_mode(void);
bool hid_transport_ble_ready(void);
bool hid_transport_connected(void);
int hid_transport_release_all(void);
int hid_transport_send_keyboard(const struct hid_keyboard_report *report);
int hid_transport_send_consumer(uint16_t usage);

#endif
```

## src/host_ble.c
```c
#include "host_ble.h"

#include <string.h>

#include <zephyr/bluetooth/conn.h>
#include <zephyr/bluetooth/gatt.h>
#include <zephyr/kernel.h>
#include <zephyr/logging/log.h>

#include "host_protocol.h"

LOG_MODULE_REGISTER(host_ble, LOG_LEVEL_INF);

static struct bt_uuid_128 service_uuid = BT_UUID_INIT_128(HOST_BLE_SERVICE_UUID_VAL);
static struct bt_uuid_128 request_uuid = BT_UUID_INIT_128(HOST_BLE_REQUEST_UUID_VAL);
static struct bt_uuid_128 response_uuid = BT_UUID_INIT_128(HOST_BLE_RESPONSE_UUID_VAL);
static uint8_t response_value[HOST_REPORT_SIZE];
static bool notify_enabled;

extern const struct bt_gatt_attr attr_host_control_svc[];

static ssize_t response_read(struct bt_conn *conn,
			     const struct bt_gatt_attr *attr, void *buf,
			     uint16_t len, uint16_t offset)
{
	ARG_UNUSED(attr);

	if (host_protocol_get_report(response_value, sizeof(response_value)) < 0) {
		memset(response_value, 0, sizeof(response_value));
		response_value[0] = HOST_REPORT_ID;
	}

	return bt_gatt_attr_read(conn, attr, buf, len, offset, response_value,
				 sizeof(response_value));
}

static ssize_t request_write(struct bt_conn *conn,
			     const struct bt_gatt_attr *attr, const void *buf,
			     uint16_t len, uint16_t offset, uint8_t flags)
{
	uint8_t request[HOST_REPORT_SIZE];
	int err;

	ARG_UNUSED(attr);
	ARG_UNUSED(flags);

	if (offset != 0 || len != HOST_REPORT_SIZE) {
		return BT_GATT_ERR(BT_ATT_ERR_INVALID_ATTRIBUTE_LEN);
	}

	memcpy(request, buf, sizeof(request));
	err = host_protocol_set_report(request, sizeof(request));
	if (err) {
		return BT_GATT_ERR(BT_ATT_ERR_VALUE_NOT_ALLOWED);
	}

	if (host_protocol_get_report(response_value, sizeof(response_value)) == 0 &&
	    notify_enabled) {
		(void)bt_gatt_notify(conn, &attr_host_control_svc[4],
				     response_value, sizeof(response_value));
	}

	return len;
}

static void response_ccc_changed(const struct bt_gatt_attr *attr,
				 uint16_t value)
{
	ARG_UNUSED(attr);

	notify_enabled = (value == BT_GATT_CCC_NOTIFY);
	LOG_INF("Host BLE response notifications %s",
		notify_enabled ? "enabled" : "disabled");
}

BT_GATT_SERVICE_DEFINE(host_control_svc,
	BT_GATT_PRIMARY_SERVICE(&service_uuid.uuid),
	BT_GATT_CHARACTERISTIC(&request_uuid.uuid,
			       BT_GATT_CHRC_WRITE | BT_GATT_CHRC_WRITE_WITHOUT_RESP,
			       BT_GATT_PERM_WRITE,
			       NULL, request_write, NULL),
	BT_GATT_CHARACTERISTIC(&response_uuid.uuid,
			       BT_GATT_CHRC_READ | BT_GATT_CHRC_NOTIFY,
			       BT_GATT_PERM_READ,
			       response_read, NULL, NULL),
	BT_GATT_CCC(response_ccc_changed,
		    BT_GATT_PERM_READ | BT_GATT_PERM_WRITE),
);
```

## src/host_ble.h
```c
#ifndef HOST_BLE_H
#define HOST_BLE_H

#include <zephyr/bluetooth/uuid.h>

#define HOST_BLE_SERVICE_UUID_VAL \
	BT_UUID_128_ENCODE(0x8f420000, 0x7b6a, 0x4f6a, 0x9a52, 0x4d41494b4244)
#define HOST_BLE_REQUEST_UUID_VAL \
	BT_UUID_128_ENCODE(0x8f420001, 0x7b6a, 0x4f6a, 0x9a52, 0x4d41494b4244)
#define HOST_BLE_RESPONSE_UUID_VAL \
	BT_UUID_128_ENCODE(0x8f420002, 0x7b6a, 0x4f6a, 0x9a52, 0x4d41494b4244)

#endif
```

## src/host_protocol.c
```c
#include "host_protocol.h"

#include <errno.h>
#include <string.h>

#include <zephyr/kernel.h>
#include <zephyr/logging/log.h>
#include <zephyr/sys/byteorder.h>

#include "display.h"
#include "rgb.h"

LOG_MODULE_REGISTER(host_protocol, LOG_LEVEL_INF);

#define FW_VERSION_MAJOR 0
#define FW_VERSION_MINOR 1
#define FW_VERSION_PATCH 0

static uint8_t response[HOST_REPORT_SIZE];
static struct host_status_snapshot current_status;
static struct rgb_host_config current_rgb;
static struct k_mutex protocol_lock;

static void response_begin(uint8_t cmd, uint8_t seq, uint8_t status)
{
	memset(response, 0, sizeof(response));
	response[0] = HOST_REPORT_ID;
	response[1] = cmd;
	response[2] = seq;
	response[3] = status;
	response[4] = 0;
}

static void response_payload(const uint8_t *payload, uint8_t len)
{
	len = MIN(len, (uint8_t)(HOST_REPORT_SIZE - 5));
	if (payload != NULL && len > 0) {
		memcpy(&response[5], payload, len);
	}
	response[4] = len;
}

static void handle_ping(uint8_t seq)
{
	static const uint8_t pong[] = { 'P', 'O', 'N', 'G' };

	response_begin(HOST_CMD_PING, seq, HOST_STATUS_OK);
	response_payload(pong, sizeof(pong));
}

static void handle_fw_info(uint8_t seq)
{
	uint8_t payload[58] = { 0 };
	size_t off = 0;
	const char board[] = "ai_ble_keyboard";
	const char build[] = __DATE__ " " __TIME__;

	payload[off++] = HOST_PROTOCOL_VERSION_MAJOR;
	payload[off++] = HOST_PROTOCOL_VERSION_MINOR;
	payload[off++] = FW_VERSION_MAJOR;
	payload[off++] = FW_VERSION_MINOR;
	payload[off++] = FW_VERSION_PATCH;
	payload[off++] = HOST_REPORT_ID;
	payload[off++] = HOST_REPORT_SIZE;
	payload[off++] = 0;

	memcpy(&payload[off], board, MIN(sizeof(board), sizeof(payload) - off));
	off += 24;
	memcpy(&payload[off], build, MIN(sizeof(build), sizeof(payload) - off));

	response_begin(HOST_CMD_GET_FW_INFO, seq, HOST_STATUS_OK);
	response_payload(payload, sizeof(payload));
}

static void handle_status(uint8_t seq)
{
	uint8_t payload[16] = { 0 };

	payload[0] = (uint8_t)current_status.mode;
	payload[1] = current_status.connected ? 1 : 0;
	payload[2] = current_status.numlock ? 1 : 0;
	payload[3] = current_status.idle ? 1 : 0;
	payload[4] = current_status.battery_percent < 0 ?
		     0xff : (uint8_t)current_status.battery_percent;
	sys_put_le16(current_status.battery_mv < 0 ? 0 :
		     (uint16_t)current_status.battery_mv, &payload[5]);
	payload[7] = (uint8_t)current_status.charge_state;

	response_begin(HOST_CMD_GET_STATUS, seq, HOST_STATUS_OK);
	response_payload(payload, sizeof(payload));
}

static void handle_sync_time(uint8_t seq, const uint8_t *payload, uint8_t len)
{
	uint32_t unix_time;
	int16_t tz_offset_min;
	uint8_t flags;

	if (len < 7) {
		response_begin(HOST_CMD_SYNC_TIME, seq, HOST_STATUS_ERR_BAD_LEN);
		return;
	}

	unix_time = sys_get_le32(&payload[0]);
	tz_offset_min = (int16_t)sys_get_le16(&payload[4]);
	flags = payload[6];
	display_set_host_time(unix_time, tz_offset_min, flags);

	response_begin(HOST_CMD_SYNC_TIME, seq, HOST_STATUS_OK);
}

static void handle_set_rgb(uint8_t seq, const uint8_t *payload, uint8_t len)
{
	struct rgb_host_config config;

	if (len < 6) {
		response_begin(HOST_CMD_SET_RGB, seq, HOST_STATUS_ERR_BAD_LEN);
		return;
	}

	config.enabled = payload[0] != 0;
	config.r = payload[1];
	config.g = payload[2];
	config.b = payload[3];
	config.brightness = payload[4];
	config.idle_brightness = payload[5];
	rgb_set_host_config(&config);
	current_rgb = config;

	response_begin(HOST_CMD_SET_RGB, seq, HOST_STATUS_OK);
}

static void handle_get_rgb(uint8_t seq)
{
	uint8_t payload[8] = { 0 };

	rgb_get_host_config(&current_rgb);
	payload[0] = current_rgb.enabled ? 1 : 0;
	payload[1] = current_rgb.r;
	payload[2] = current_rgb.g;
	payload[3] = current_rgb.b;
	payload[4] = current_rgb.brightness;
	payload[5] = current_rgb.idle_brightness;

	response_begin(HOST_CMD_GET_RGB, seq, HOST_STATUS_OK);
	response_payload(payload, sizeof(payload));
}

void host_protocol_init(void)
{
	k_mutex_init(&protocol_lock);
	rgb_get_host_config(&current_rgb);
	response_begin(HOST_CMD_PING, 0, HOST_STATUS_OK);
}

void host_protocol_update_status(const struct host_status_snapshot *status)
{
	if (status == NULL) {
		return;
	}

	k_mutex_lock(&protocol_lock, K_FOREVER);
	current_status = *status;
	k_mutex_unlock(&protocol_lock);
}

int host_protocol_set_report(const uint8_t *data, uint16_t len)
{
	uint8_t cmd;
	uint8_t seq;
	uint8_t payload_len;
	const uint8_t *payload;

	if (data == NULL || len < 4 || data[0] != HOST_REPORT_ID) {
		return -EINVAL;
	}

	cmd = data[1];
	seq = data[2];
	payload_len = data[3];
	payload = &data[4];
	if (payload_len > len - 4) {
		return -EINVAL;
	}

	k_mutex_lock(&protocol_lock, K_FOREVER);
	switch (cmd) {
	case HOST_CMD_PING:
		handle_ping(seq);
		break;
	case HOST_CMD_GET_FW_INFO:
		handle_fw_info(seq);
		break;
	case HOST_CMD_GET_STATUS:
		handle_status(seq);
		break;
	case HOST_CMD_SYNC_TIME:
		handle_sync_time(seq, payload, payload_len);
		break;
	case HOST_CMD_SET_RGB:
		handle_set_rgb(seq, payload, payload_len);
		break;
	case HOST_CMD_GET_RGB:
		handle_get_rgb(seq);
		break;
	case HOST_CMD_SET_MODE:
		response_begin(cmd, seq, HOST_STATUS_ERR_UNSUPPORTED);
		break;
	default:
		response_begin(cmd, seq, HOST_STATUS_ERR_BAD_CMD);
		break;
	}
	k_mutex_unlock(&protocol_lock);

	return 0;
}

int host_protocol_get_report(uint8_t *data, uint16_t len)
{
	if (data == NULL || len < HOST_REPORT_SIZE) {
		return -EINVAL;
	}

	k_mutex_lock(&protocol_lock, K_FOREVER);
	memcpy(data, response, HOST_REPORT_SIZE);
	k_mutex_unlock(&protocol_lock);
	return HOST_REPORT_SIZE;
}
```

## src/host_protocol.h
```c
#ifndef HOST_PROTOCOL_H
#define HOST_PROTOCOL_H

#include <stdbool.h>
#include <stdint.h>

#include "app_types.h"
#include "power.h"

#define HOST_REPORT_ID 3
#define HOST_REPORT_SIZE 64
#define HOST_PROTOCOL_VERSION_MAJOR 1
#define HOST_PROTOCOL_VERSION_MINOR 0

enum host_cmd {
	HOST_CMD_GET_FW_INFO = 0x01,
	HOST_CMD_GET_STATUS = 0x02,
	HOST_CMD_SYNC_TIME = 0x03,
	HOST_CMD_SET_RGB = 0x04,
	HOST_CMD_GET_RGB = 0x05,
	HOST_CMD_SET_MODE = 0x06,
	HOST_CMD_PING = 0x7f,
};

enum host_status {
	HOST_STATUS_OK = 0x00,
	HOST_STATUS_ERR_BAD_CMD = 0x01,
	HOST_STATUS_ERR_BAD_LEN = 0x02,
	HOST_STATUS_ERR_UNSUPPORTED = 0x03,
};

struct host_status_snapshot {
	enum app_mode mode;
	bool connected;
	bool numlock;
	bool idle;
	int battery_percent;
	int battery_mv;
	enum power_charge_state charge_state;
};

void host_protocol_init(void);
void host_protocol_update_status(const struct host_status_snapshot *status);
int host_protocol_set_report(const uint8_t *data, uint16_t len);
int host_protocol_get_report(uint8_t *data, uint16_t len);

#endif
```

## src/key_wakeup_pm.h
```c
#ifndef KEY_WAKEUP_PM_H
#define KEY_WAKEUP_PM_H

#include <stdbool.h>
#include <stdint.h>

#include <zephyr/kernel.h>

#include "app_types.h"

void key_wakeup_pm_init(int64_t now);
void key_wakeup_pm_note_activity(int64_t now);
void key_wakeup_pm_note_activity_reason(int64_t now, const char *reason);
void key_wakeup_pm_wakeup_isr(void);
bool key_wakeup_pm_is_idle(void);
bool key_wakeup_pm_should_scan(enum app_mode mode);
void key_wakeup_pm_update(enum app_mode mode, int64_t now);
k_timeout_t key_wakeup_pm_sleep_interval(enum app_mode mode, int64_t now);

#endif
```
